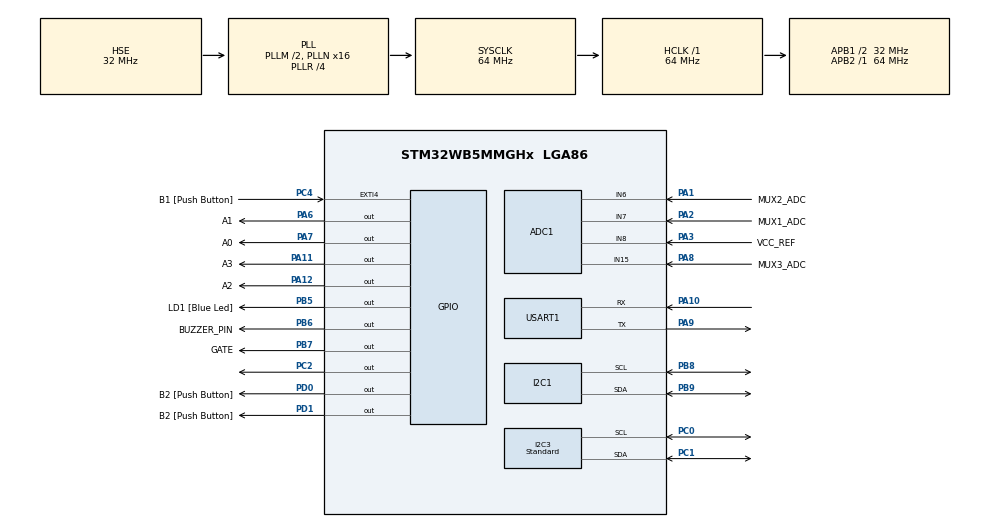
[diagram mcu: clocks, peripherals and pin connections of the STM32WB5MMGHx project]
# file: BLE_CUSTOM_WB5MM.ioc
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ADC1.Channel-0\#ChannelRegularConversion=ADC_CHANNEL_6
ADC1.Channel-1\#ChannelRegularConversion=ADC_CHANNEL_6
ADC1.Channel-2\#ChannelRegularConversion=ADC_CHANNEL_6
ADC1.Channel-3\#ChannelRegularConversion=ADC_CHANNEL_6
ADC1.ClockPrescaler=ADC_CLOCK_ASYNC_DIV2
ADC1.EOCSelection=ADC_EOC_SEQ_CONV
ADC1.NbrOfConversion=4
ADC1.NbrOfConversionFlag=1
ADC1.OffsetNumber-0\#ChannelRegularConversion=ADC_OFFSET_NONE
ADC1.OffsetNumber-1\#ChannelRegularConversion=ADC_OFFSET_NONE
ADC1.OffsetNumber-2\#ChannelRegularConversion=ADC_OFFSET_NONE
ADC1.OffsetNumber-3\#ChannelRegularConversion=ADC_OFFSET_NONE
ADC1.Overrun=ADC_OVR_DATA_OVERWRITTEN
ADC1.OversamplingMode=ENABLE
ADC1.Rank-0\#ChannelRegularConversion=1
ADC1.Rank-1\#ChannelRegularConversion=2
ADC1.Rank-2\#ChannelRegularConversion=3
ADC1.Rank-3\#ChannelRegularConversion=4
ADC1.Ratio=ADC_OVERSAMPLING_RATIO_256
ADC1.RightBitShift=ADC_RIGHTBITSHIFT_4
ADC1.SamplingTime-0\#ChannelRegularConversion=ADC_SAMPLETIME_2CYCLES_5
ADC1.SamplingTime-1\#ChannelRegularConversion=ADC_SAMPLETIME_2CYCLES_5
ADC1.SamplingTime-2\#ChannelRegularConversion=ADC_SAMPLETIME_2CYCLES_5
ADC1.SamplingTime-3\#ChannelRegularConversion=ADC_SAMPLETIME_2CYCLES_5
ADC1.master=1
Dma.ADC1.2.Direction=DMA_PERIPH_TO_MEMORY
Dma.ADC1.2.EventEnable=DISABLE
Dma.ADC1.2.Instance=DMA1_Channel3
Dma.ADC1.2.MemDataAlignment=DMA_MDATAALIGN_WORD
Dma.ADC1.2.MemInc=DMA_MINC_ENABLE
Dma.ADC1.2.Mode=DMA_CIRCULAR
Dma.ADC1.2.PeriphDataAlignment=DMA_PDATAALIGN_WORD
Dma.ADC1.2.PeriphInc=DMA_PINC_DISABLE
Dma.ADC1.2.Polarity=HAL_DMAMUX_REQ_GEN_RISING
Dma.ADC1.2.Priority=DMA_PRIORITY_LOW
Dma.ADC1.2.RequestNumber=1
Dma.ADC1.2.SignalID=NONE
Dma.ADC1.2.SyncEnable=DISABLE
Dma.ADC1.2.SyncPolarity=HAL_DMAMUX_SYNC_NO_EVENT
Dma.ADC1.2.SyncRequestNumber=1
Dma.ADC1.2.SyncSignalID=NONE
Dma.Request0=USART1_RX
Dma.Request1=USART1_TX
Dma.Request2=ADC1
Dma.USART1_RX.0.Direction=DMA_PERIPH_TO_MEMORY
Dma.USART1_RX.0.EventEnable=DISABLE
Dma.USART1_RX.0.Instance=DMA1_Channel1
Dma.USART1_RX.0.MemDataAlignment=DMA_MDATAALIGN_BYTE
Dma.USART1_RX.0.MemInc=DMA_MINC_ENABLE
Dma.USART1_RX.0.Mode=DMA_NORMAL
Dma.USART1_RX.0.PeriphDataAlignment=DMA_PDATAALIGN_BYTE
Dma.USART1_RX.0.PeriphInc=DMA_PINC_DISABLE
Dma.USART1_RX.0.Polarity=HAL_DMAMUX_REQ_GEN_RISING
Dma.USART1_RX.0.Priority=DMA_PRIORITY_LOW
Dma.USART1_RX.0.RequestNumber=1
Dma.USART1_RX.0.SignalID=NONE
Dma.USART1_RX.0.SyncEnable=DISABLE
Dma.USART1_RX.0.SyncPolarity=HAL_DMAMUX_SYNC_NO_EVENT
Dma.USART1_RX.0.SyncRequestNumber=1
Dma.USART1_RX.0.SyncSignalID=NONE
Dma.USART1_TX.1.Direction=DMA_MEMORY_TO_PERIPH
Dma.USART1_TX.1.EventEnable=DISABLE
Dma.USART1_TX.1.Instance=DMA1_Channel2
Dma.USART1_TX.1.MemDataAlignment=DMA_MDATAALIGN_BYTE
Dma.USART1_TX.1.MemInc=DMA_MINC_ENABLE
Dma.USART1_TX.1.Mode=DMA_NORMAL
Dma.USART1_TX.1.PeriphDataAlignment=DMA_PDATAALIGN_BYTE
Dma.USART1_TX.1.PeriphInc=DMA_PINC_DISABLE
Dma.USART1_TX.1.Polarity=HAL_DMAMUX_REQ_GEN_RISING
Dma.USART1_TX.1.Priority=DMA_PRIORITY_LOW
Dma.USART1_TX.1.RequestNumber=1
Dma.USART1_TX.1.SignalID=NONE
Dma.USART1_TX.1.SyncEnable=DISABLE
Dma.USART1_TX.1.SyncPolarity=HAL_DMAMUX_SYNC_NO_EVENT
Dma.USART1_TX.1.SyncRequestNumber=1
Dma.USART1_TX.1.SyncSignalID=NONE
I2C1.I2C_Fall_Time=100
I2C1.I2C_Rise_Time=100
I2C1.Speed=100
I2C1.Timing=0x00B07CB4
I2C3.CustomTiming=Disabled
I2C3.I2C_Fall_Time=100
I2C3.I2C_Rise_Time=100
I2C3.I2C_Speed_Mode=I2C_Standard
I2C3.Speed=100
I2C3.Timing=0x00B07CB4
Mcu.Family=STM32WB
Mcu.Name=STM32WB5MMGHx
Mcu.Package=LGA86
NVIC.ADC1_IRQn=true\:0\:0\:false\:false\:true\:true\:true\:true
NVIC.DMA1_Channel1_IRQn=true\:0\:0\:false\:false\:true\:false\:true\:true
NVIC.DMA1_Channel2_IRQn=true\:0\:0\:false\:false\:true\:false\:true\:true
NVIC.DMA1_Channel3_IRQn=true\:0\:0\:false\:false\:true\:false\:true\:true
NVIC.HSEM_IRQn=true\:0\:0\:false\:false\:true\:false\:true\:true
NVIC.I2C1_ER_IRQn=true\:0\:0\:false\:false\:true\:true\:true\:true
NVIC.I2C1_EV_IRQn=true\:0\:0\:false\:false\:true\:true\:true\:true
NVIC.IPCC_C1_RX_IRQn=true\:0\:0\:false\:false\:true\:true\:true\:true
NVIC.IPCC_C1_TX_IRQn=true\:0\:0\:false\:false\:true\:true\:true\:true
NVIC.PriorityGroup=NVIC_PRIORITYGROUP_4
NVIC.RCC_IRQn=true\:0\:0\:false\:false\:true\:true\:false\:true
NVIC.RTC_WKUP_IRQn=true\:0\:0\:false\:false\:true\:true\:true\:true
PA1.GPIO_Label=MUX2_ADC
PA1.Signal=ADCx_IN6
PA10.Mode=Asynchronous
PA10.Signal=USART1_RX
PA11.GPIO_Label=A3
PA11.Signal=GPIO_Output
PA12.GPIO_Label=A2
PA12.Signal=GPIO_Output
PA2.GPIO_Label=MUX1_ADC
PA2.Signal=ADCx_IN7
PA3.GPIO_Label=VCC_REF
PA3.Signal=ADCx_IN8
PA6.GPIO_Label=A1
PA6.Signal=GPIO_Output
PA7.GPIO_Label=A0
PA7.Signal=GPIO_Output
PA8.GPIO_Label=MUX3_ADC
PA8.Signal=ADCx_IN15
PA9.Mode=Asynchronous
PA9.Signal=USART1_TX
PB5.GPIO_Label=LD1 [Blue Led]
PB5.Signal=GPIO_Output
PB6.GPIO_Label=BUZZER_PIN
PB6.Signal=GPIO_Output
PB7.GPIO_Label=GATE
PB7.Signal=GPIO_Output
PB8.GPIO_Speed=GPIO_SPEED_FREQ_LOW
PB8.Mode=I2C
PB8.Signal=I2C1_SCL
PB9.GPIO_Speed=GPIO_SPEED_FREQ_LOW
PB9.Mode=I2C
PB9.Signal=I2C1_SDA
PC0.Mode=I2C
PC0.Signal=I2C3_SCL
PC1.Mode=I2C
PC1.Signal=I2C3_SDA
PC2.Signal=GPIO_Output
PC4.GPIO_Label=B1 [Push Button]
PC4.GPIO_ModeDefaultEXTI=GPIO_MODE_IT_FALLING
PC4.Signal=GPXTI4
PD0.GPIO_Label=B2 [Push Button]
PD0.Signal=GPIO_Output
PD1.GPIO_Label=B2 [Push Button]
PD1.Signal=GPIO_Output
ProjectManager.HeapSize=0x200
ProjectManager.StackSize=0x400
ProjectManager.TargetToolchain=STM32CubeIDE
RCC.ADCFreq_Value=64000000
RCC.AHB2CLKDivider=RCC_SYSCLK_DIV2
RCC.AHBFreq_Value=64000000
RCC.APB1CLKDivider=RCC_HCLK_DIV2
RCC.APB1Freq_Value=32000000
RCC.APB1TimFreq_Value=64000000
RCC.APB2Freq_Value=64000000
RCC.APB2TimFreq_Value=64000000
RCC.APB3Freq_Value=16000000
RCC.CK48CLockSelection=RCC_USBCLKSOURCE_HSI48
RCC.CortexFreq_Value=64000000
RCC.HCLKFreq_Value=64000000
RCC.HSE_VALUE=32000000
RCC.HSI48_VALUE=48000000
RCC.HSI_VALUE=16000000
RCC.MSIClockRange=RCC_MSIRANGE_10
RCC.PLLM=RCC_PLLM_DIV2
RCC.PLLN=16
RCC.PLLR=RCC_PLLR_DIV4
RCC.PLLSourceVirtual=RCC_PLLSOURCE_HSE
RCC.RTCClockSelection=RCC_RTCCLKSOURCE_LSE
RCC.SYSCLKFreq_VALUE=64000000
RCC.SYSCLKSource=RCC_SYSCLKSOURCE_PLLCLK
RCC.USBFreq_Value=48000000
RCC.VCOOutputFreq_Value=256000000
SH.ADCx_IN15.0=ADC1_IN15,IN15-Single-Ended
SH.ADCx_IN6.0=ADC1_IN6,IN6-Single-Ended
SH.ADCx_IN7.0=ADC1_IN7,IN7-Single-Ended
SH.ADCx_IN8.0=ADC1_IN8,IN8-Single-Ended
STM32_WPAN.AD_TYPE_COMPLETE_LOCAL_NAME=STM32WB5MM
STM32_WPAN.AD_TYPE_COMPLETE_LOCAL_NAME_LENGTH=11
STM32_WPAN.BLE_APPLICATION_TYPE=BLE_SERVER_PROFILE
STM32_WPAN.BLE_DBG_APP_EN=1
STM32_WPAN.CFG_ADV_BD_ADDRESS=0x000000000000
STM32_WPAN.CFG_GAP_DEVICE_NAME=WB5MM
STM32_WPAN.CFG_GAP_DEVICE_NAME_LENGTH=5
STM32_WPAN.CFG_HW_RESET_BY_FW=1
STM32_WPAN.CFG_HW_USART1_ENABLED=1
STM32_WPAN.CFG_LSCLK_LSE=0
STM32_WPAN.CUSTOM_P2P_SERVER=Disabled
STM32_WPAN.CUSTOM_TEMPLATE=Enabled
STM32_WPAN.INCLUDE_AD_TYPE_COMPLETE_LOCAL_NAME=1
STM32_WPAN.INCLUDE_AD_TYPE_TX_POWER_LEVEL=0
STM32_WPAN.NUMBER_OF_SERVICES=1
STM32_WPAN.PAIRING_PARAMETERS=OFF
STM32_WPAN.SERVICE1_CHAR1_GATT_NOTIFY_READ_REQ_AND_WAIT_FOR_APPL_RESP=\ 
STM32_WPAN.SERVICE1_CHAR1_GATT_NOTIFY_WRITE_REQ_AND_WAIT_FOR_APPL_RESP=\ 
STM32_WPAN.SERVICE1_CHAR1_LENGTH_CHARACTERISTIC=CHAR_VALUE_LEN_VARIABLE
STM32_WPAN.SERVICE1_CHAR1_LONG_NAME=Write
STM32_WPAN.SERVICE1_CHAR1_PROP_WRITE=CHAR_PROP_WRITE
STM32_WPAN.SERVICE1_CHAR1_SHORT_NAME=Write
STM32_WPAN.SERVICE1_CHAR1_UUID=00 01
STM32_WPAN.SERVICE1_CHAR1_VALUE_LENGTH=247
STM32_WPAN.SERVICE1_CHAR2_GATT_NOTIFY_ATTRIBUTE_WRITE=\ 
STM32_WPAN.SERVICE1_CHAR2_LENGTH_CHARACTERISTIC=CHAR_VALUE_LEN_VARIABLE
STM32_WPAN.SERVICE1_CHAR2_LONG_NAME=Notify
STM32_WPAN.SERVICE1_CHAR2_PROP_NOTIFY=CHAR_PROP_NOTIFY
STM32_WPAN.SERVICE1_CHAR2_PROP_READ=CHAR_PROP_READ
STM32_WPAN.SERVICE1_CHAR2_SHORT_NAME=Notify
STM32_WPAN.SERVICE1_CHAR2_UUID=00 02
STM32_WPAN.SERVICE1_CHAR2_VALUE_LENGTH=247
STM32_WPAN.SERVICE1_LONG_NAME=MDTEST
STM32_WPAN.SERVICE1_NUMBER_OF_CHARACTERISTICS=2
STM32_WPAN.SERVICE1_SHORT_NAME=MDTEST
TIM16.Period=40000
TIM16.Prescaler=799
USART1.VirtualMode-Asynchronous=VM_ASYNC
VP_HSEM_VS_HSEM.Mode=HSEM_Activate
VP_IPCC_VS_IPCC.Mode=IPCC_Activate
VP_MEMORYMAP_VS_MEMORYMAP.Mode=CurAppReg
VP_RCC_V_OSC32_IN.Mode=LSE-External-Clock-Source
VP_RCC_V_OSC_IN.Mode=HSE-External-Clock-Source
VP_RF_VS_RF.Mode=RF_Activate
VP_RTC_VS_RTC_Activate.Mode=RTC_Enabled
VP_RTC_VS_RTC_WakeUp_intern.Mode=WakeUp
VP_SEQUENCER_VS_SEQUENCER.Mode=SEQUENCER_Enabled
VP_STM32_WPAN_VS_BLE_HOST.Mode=STM32_WPAN_Enabled
VP_TIM16_VS_ClockSourceINT.Mode=Enable_Timer
VP_TINY_LPM_VS_TINY_LPM.Mode=TINY_LPM_Enabled
board=custom

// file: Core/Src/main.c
/* USER CODE BEGIN Header */
/**
  ******************************************************************************
  * @file           : main.c
  * @brief          : Main program body
  ******************************************************************************
  * @attention
  *
  * Copyright (c) 2026 STMicroelectronics.
  * All rights reserved.
  *
  * This software is licensed under terms that can be found in the LICENSE file
  * in the root directory of this software component.
  * If no LICENSE file comes with this software, it is provided AS-IS.
  *
  ******************************************************************************
  */
/* USER CODE END Header */
#include "main.h"
#include "adc.h"
#include "dma.h"
#include "i2c.h"
#include "ipcc.h"
#include "rf.h"
#include "rtc.h"
#include "tim.h"
#include "usart.h"
#include "gpio.h"

/* USER CODE BEGIN Includes */
#include "DisplayHandler.h"
#include "FlashMemory.h"
//#include "usart.h"
#include "xmodem.h"
#include <math.h>
/* USER CODE END Includes */

/* USER CODE BEGIN PTD */
uint8_t ucRxBuffer[12]							= {0};
static _eOperationMode eOpMode					= eUnknownMode;
static _eReadingStatus eDataAqucisionStatus 	= eReadingStatusUnknown;
static bool ucReadingIterator					= false;
static uint8_t ucReadingTrack 					= 0;
static _eBleConnectionStatus eBleCurrentStatus	= eBleStatusUnknown;
_sDeviceInfoData sDeviceInfo					= {0};
bool bPasswordGetter							= false;
bool bOptionGetter								= false;
bool bDeviceIdGetter							= false;
uint8_t ucpDevId[LENGTH_OF_DEV_ID]				= {'\0'};
bool bBackOption								= false;
_ConfigModeStatus eConfigModeCurrentStatus		= eConfigModeUnknown;
uint8_t ucReceivedLen							= 0;
bool bUartReceived								= false;
uint8_t ucEchoBuffer[12]						= {'\0'};

extern char* ucpWearableSize[];
/* USER CODE END PTD */

/* USER CODE BEGIN PD */
static void ClearReadingFlags();
static void UpdateConnectionStatusOnDisplay();
static void ConfigurationModeHandler();
static void ProcessLiveReading();

/* USER CODE END PD */

/* USER CODE BEGIN PV */
long double R_TEMP;
long double curve;
long double final_adc_values[48];
long double mode_values[48][60];
long double adc_readings[48][60];
long double value=0;
float FINAL_TEMP[48];
long double e1=0;
int coeffnum;     //s
long double coeff,err_factor;
int R25[48];
long double resistsnce[48];
__IO int ADC_DATA[4];
__IO int i=0;
char msg[100];
__IO int sample=0;
int z=0;
__IO int max[48];
__IO int mode[48][60];
int  count[48];
int probe_no=0;
int j,k,p,x;
int repeat[48][60];
long double final_values[48][60];
int flag=0;
int total;
long double a[48];
long double b[48];
long double c[48];
long double d[48];
float R[48];
long double avg_adc_ref[48];
long double e1;
long double adc_ref[48][60];
long double mode_adc_ref[48][60];
long double final_adc_ref[48][60];
int n=60;
/* USER CODE END PV */

void SystemClock_Config(void);
void PeriphCommonClock_Config(void);
/* USER CODE BEGIN PFP */
void conv_cmplt_tasks(void);
/* USER CODE END PFP */

/* USER CODE BEGIN 0 */
void HAL_UART_RxCpltCallback(UART_HandleTypeDef *huart)
{
	if (eOpMode != eCOnfigMode)
	{
		if ((NULL != strstr((const char *)ucRxBuffer, (const char *)"CONFIGMODE")) &&
					(eReadingStatusReadingInProgrs != GetReadingStatus()) && (eReadingFromFlash != GetReadingStatus()))
		{
			eOpMode = eCOnfigMode;
			memset(ucRxBuffer, 0x00, 10);
		}
		else
		{
			HAL_UART_Abort_IT(&huart1);

			if(HAL_OK != (HAL_UART_Receive_IT(&huart1, (uint8_t *)ucRxBuffer, sizeof("configmode"))))
			{
				while(1);
			}
		}
	}
	else
	{
		bUartReceived = true;
		ucReceivedLen = huart->RxXferSize;
	}
}

static uint8_t handle_req = 0;

void handle_flash_write()
{
	handle_req = 1;
}
void handle_error_case()
{
	static uint32_t next_hal_time = 0;
	static uint8_t track_time = 0;

	if(handle_req)
	{
		if(next_hal_time < HAL_GetTick())
		{
			next_hal_time = HAL_GetTick() + 1000;
			track_time++;

			if(5 == track_time)
			{
				FlashErasePatientResultData();
				handle_req = 0;
				next_hal_time = 0;
				track_time = 0;
			}
		}

	}
}
/* USER CODE END 0 */

int main(void)
{

  /* USER CODE BEGIN 1 */
	R[0]  = 7500;
	R[1]  = 7500;
	R[2]  = 7500;
	R[3]  = 7500;
	R[4]  = 7500;
	R[5]  = 7500;
	R[6]  = 7500;
	R[7]  = 7500;
	R[8]  = 7500;
	R[9]  = 7500;
	R[10] = 7500;
	R[11] = 7500;
	R[12] = 7500;
	R[13] = 7500;
	R[14] = 7500;
	R[15] = 7500;
	R[16] = 7500;
	R[17] = 7500;
	R[18] = 7500;
	R[19] = 7500;
	R[20] = 7500;
	R[21] = 7500;
	R[22] = 7500;
	R[23] = 7500;
	R[24] = 7500;
	R[25] = 7500;
	R[26] = 7500;
	R[27] = 7500;
	R[28] = 7500;
	R[29] = 7500;
	R[30] = 7500;
	R[31] = 7500;
	R[32] = 7500;
	R[33] = 7500;
	R[34] = 7500;
	R[35] = 7500;
	R[36] = 7500;
	R[37] = 7500;
	R[38] = 7500;
	R[39] = 7500;
	R[40] = 7500;
	R[41] = 7500;
	R[42] = 7500;
	R[43] = 7500;
	R[44] = 7500;
	R[45] = 7500;
	R[46] = 7500;
	R[47] = 7500;
  /* USER CODE END 1 */

  /* MCU Configuration--------------------------------------------------------*/

  /* Reset of all peripherals, Initializes the Flash interface and the Systick. */
  HAL_Init();
  /* Config code for STM32_WPAN (HSE Tuning must be done before system clock configuration) */
  MX_APPE_Config();

  /* Configure the system clock */
  SystemClock_Config();

  /* Configure the peripherals common clocks */
  PeriphCommonClock_Config();

  /* IPCC initialisation */
  MX_IPCC_Init();

  /* Initialize all configured peripherals */
  MX_GPIO_Init();
  MX_DMA_Init();
  MX_RTC_Init();
  MX_I2C1_Init();
  MX_USART1_UART_Init();
  MX_ADC1_Init();
  MX_TIM16_Init();
  MX_I2C3_Init();
  MX_RF_Init();
  /* USER CODE BEGIN 2 */
  getSavedConfigurationValues();
  FlashReadDeviceId(&sDeviceInfo);

  if (HAL_ADCEx_Calibration_Start(&hadc1, ADC_SINGLE_ENDED) != HAL_OK)
  {
	  /* Calibration Error */
	  Error_Handler();
  }
  HAL_GPIO_WritePin(A0_GPIO_Port, A0_Pin, GPIO_PIN_RESET);
  HAL_GPIO_WritePin(A1_GPIO_Port, A1_Pin, GPIO_PIN_RESET);
  HAL_GPIO_WritePin(A2_GPIO_Port, A2_Pin, GPIO_PIN_RESET);
  HAL_GPIO_WritePin(A3_GPIO_Port, A3_Pin, GPIO_PIN_RESET);
  HAL_GPIO_WritePin(GATE_GPIO_Port, GATE_Pin, GPIO_PIN_SET);

  for (coeffnum = 0; coeffnum < 48; coeffnum++) // s
  {
	  sprintf(msg,"\n\n\r   a[%d]=%.18Lf",coeffnum,a[coeffnum]);
	  HAL_UART_Transmit(&huart1, (uint8_t *)msg, strlen(msg), 100);
	  sprintf(msg,"\n\r   b[%d]=%.18Lf",coeffnum,b[coeffnum]);
	  HAL_UART_Transmit(&huart1, (uint8_t *)msg, strlen(msg), 100);
	  sprintf(msg,"\n\r   c[%d]=%.18Lf",coeffnum,c[coeffnum]);
	  HAL_UART_Transmit(&huart1, (uint8_t *)msg, strlen(msg), 100);
	  sprintf(msg,"\n\r   d[%d]=%.18Lf",coeffnum,d[coeffnum]);
	  HAL_UART_Transmit(&huart1, (uint8_t *)msg, strlen(msg), 100);
  }
  /* USER CODE END 2 */

  /* Init code for STM32_WPAN */
  MX_APPE_Init();

  /* Infinite loop */
  /* USER CODE BEGIN WHILE */
  FlashReadDeviceId(&sDeviceInfo);

  C_METwelcomeLogo();
  DeviceInfoLogo();
  SetDisplayStatus(eDisplayNotConnected);
  RestoreConfigDataFromFlash();
  DisplayDAQ_Id();

  while (1)
  {
	  if (eOpMode == eCOnfigMode)
	  	{
	  		ConfigurationModeHandler();
	  	}
	  		/* Here the live data reading can be tracked and controlled */
	  	else if ( eReadingStatusReadingInProgrs == GetReadingStatus() && (ucReadingIterator))
	  	{
	  		ProcessLiveReading();
	  	}
	  		/* Flash data reading */
	  	else if ( eReadingFromFlash == GetReadingState())
	  	{
	  		ProcessReadingFromFlash();
	  		HAL_Delay(250);
	  	}
    UpdateConnectionStatusOnDisplay();
	BlePacketHandler();
    /* USER CODE END WHILE */
    MX_APPE_Process();

    /* USER CODE BEGIN 3 */

    //HAL_Delay(1);
  }
  /* USER CODE END 3 */
}

void SystemClock_Config(void)
{
  RCC_OscInitTypeDef RCC_OscInitStruct = {0};
  RCC_ClkInitTypeDef RCC_ClkInitStruct = {0};

  /** Configure LSE Drive Capability
  */
  HAL_PWR_EnableBkUpAccess();
  __HAL_RCC_LSEDRIVE_CONFIG(RCC_LSEDRIVE_MEDIUMHIGH);

  /** Configure the main internal regulator output voltage
  */
  __HAL_PWR_VOLTAGESCALING_CONFIG(PWR_REGULATOR_VOLTAGE_SCALE1);

  /** Initializes the RCC Oscillators according to the specified parameters
  * in the RCC_OscInitTypeDef structure.
  */
  RCC_OscInitStruct.OscillatorType = RCC_OSCILLATORTYPE_HSI|RCC_OSCILLATORTYPE_HSE
                              |RCC_OSCILLATORTYPE_LSE;
  RCC_OscInitStruct.HSEState = RCC_HSE_ON;
  RCC_OscInitStruct.LSEState = RCC_LSE_ON;
  RCC_OscInitStruct.HSIState = RCC_HSI_ON;
  RCC_OscInitStruct.HSICalibrationValue = RCC_HSICALIBRATION_DEFAULT;
  RCC_OscInitStruct.PLL.PLLState = RCC_PLL_ON;
  RCC_OscInitStruct.PLL.PLLSource = RCC_PLLSOURCE_HSE;
  RCC_OscInitStruct.PLL.PLLM = RCC_PLLM_DIV2;
  RCC_OscInitStruct.PLL.PLLN = 16;
  RCC_OscInitStruct.PLL.PLLP = RCC_PLLP_DIV2;
  RCC_OscInitStruct.PLL.PLLR = RCC_PLLR_DIV4;
  RCC_OscInitStruct.PLL.PLLQ = RCC_PLLQ_DIV2;
  if (HAL_RCC_OscConfig(&RCC_OscInitStruct) != HAL_OK)
  {
    Error_Handler();
  }

  /** Configure the SYSCLKSource, HCLK, PCLK1 and PCLK2 clocks dividers
  */
  RCC_ClkInitStruct.ClockType = RCC_CLOCKTYPE_HCLK4|RCC_CLOCKTYPE_HCLK2
                              |RCC_CLOCKTYPE_HCLK|RCC_CLOCKTYPE_SYSCLK
                              |RCC_CLOCKTYPE_PCLK1|RCC_CLOCKTYPE_PCLK2;
  RCC_ClkInitStruct.SYSCLKSource = RCC_SYSCLKSOURCE_PLLCLK;
  RCC_ClkInitStruct.AHBCLKDivider = RCC_SYSCLK_DIV1;
  RCC_ClkInitStruct.APB1CLKDivider = RCC_HCLK_DIV2;
  RCC_ClkInitStruct.APB2CLKDivider = RCC_HCLK_DIV1;
  RCC_ClkInitStruct.AHBCLK2Divider = RCC_SYSCLK_DIV2;
  RCC_ClkInitStruct.AHBCLK4Divider = RCC_SYSCLK_DIV1;

  if (HAL_RCC_ClockConfig(&RCC_ClkInitStruct, FLASH_LATENCY_3) != HAL_OK)
  {
    Error_Handler();
  }
}

void PeriphCommonClock_Config(void)
{
  RCC_PeriphCLKInitTypeDef PeriphClkInitStruct = {0};

  /** Initializes the peripherals clock
  */
  PeriphClkInitStruct.PeriphClockSelection = RCC_PERIPHCLK_SMPS|RCC_PERIPHCLK_RFWAKEUP;
  PeriphClkInitStruct.RFWakeUpClockSelection = RCC_RFWKPCLKSOURCE_HSE_DIV1024;
  PeriphClkInitStruct.SmpsClockSelection = RCC_SMPSCLKSOURCE_HSI;
  PeriphClkInitStruct.SmpsDivSelection = RCC_SMPSCLKDIV_RANGE1;

  if (HAL_RCCEx_PeriphCLKConfig(&PeriphClkInitStruct) != HAL_OK)
  {
    Error_Handler();
  }
}

/* USER CODE BEGIN 4 */
void HAL_ADC_ConvCpltCallback(ADC_HandleTypeDef *hadc)
{
	if(sample==-1)
	{
		j++;
		HAL_Delay(100);
		HAL_ADC_Start_IT(&hadc1);

		if (j==16)
		{
			sample++;
			sprintf(msg,"\n\rIteration No %d",sample);
			HAL_UART_Transmit(&huart1,(uint8_t*)msg,strlen(msg),100);
			j = 0;
		}
	}
	else
	{
		HAL_GPIO_WritePin(GATE_GPIO_Port, GATE_Pin, GPIO_PIN_RESET);
		adc_readings[j][sample] = (long double)ADC_DATA[2];		 // readings from 0 to 15th probes(mux1)
		adc_readings[j + 16][sample] = (long double)ADC_DATA[0]; // readings from 16 to 32th probes(mux2)
		adc_readings[j + 32][sample] = (long double)ADC_DATA[1]; // readings from 16 to 32th probes(mux2)
		adc_ref[j][sample] = (long double)(ADC_DATA[3]);
		adc_ref[j + 16][sample] = (long double)(ADC_DATA[3]);
		adc_ref[j + 32][sample] = (long double)(ADC_DATA[3]);
		//if (j==0)
		//	{
		sprintf(msg,"Readings from %dth (mux1)=%d \n",j,ADC_DATA[2]);
		HAL_UART_Transmit(&huart1,(uint8_t*)msg,strlen(msg),100);
		sprintf(msg,"Readings from %dth (mux2)=%d \n",j+16,ADC_DATA[0]);//readings from 17th (mux2)
		HAL_UART_Transmit(&huart1,(uint8_t*)msg,strlen(msg),100);
		sprintf(msg,"Readings from %dth (mux3)=%d \n",j+32,ADC_DATA[1]);
		HAL_UART_Transmit(&huart1,(uint8_t*)msg,strlen(msg),100);
	//}

		/*	if (j==1)
					{
					sprintf(msg,"Readings from %dth (mux1)=%d \n",j,ADC_DATA[1]);
					HAL_UART_Transmit(&huart1,(uint8_t*)msg,strlen(msg),100);
					sprintf(msg,"Readings from %dth (mux2)=%d \n",j+16,ADC_DATA[0]);//readings from 17th (mux2)
					HAL_UART_Transmit(&huart1,(uint8_t*)msg,strlen(msg),100);
					sprintf(msg,"Readings from %dth (mux1)=%d \n",j+32,ADC_DATA[2]);
					HAL_UART_Transmit(&huart1,(uint8_t*)msg,strlen(msg),100);
				}  */
		/* ___________________________________________________________________________________________________ */

		j++;

		if (j == 16)
		{
			sample++;
			sprintf(msg,"\r\nIteration No. %d ",sample);
			HAL_UART_Transmit(&huart1,(uint8_t*)msg,strlen(msg),100);
			j=0;
		}
		/* When 60 samples of each probes are taken */
		if(sample == n)
		{
			sample =-1;
			for(probe_no = 0;probe_no < 48;probe_no++)
			{
				/* Finding the maximum no of occurrence of each probe's samples */
				k = 0;
				max[probe_no]=0;
				for (i = 0; i < (n-1); i++)
				{
					mode[probe_no][i] = 1;

					for (z= (i + 1); z < n; z++)
					{
						if (adc_readings[probe_no][i] == adc_readings[probe_no][z])
						{
							mode[probe_no][i]++;
						}
					}
					if ((mode[probe_no][i]) > max[probe_no])
					{
						max[probe_no]= mode[probe_no][i];
					}
				}
			}
			for(probe_no = 0;probe_no < 48;probe_no++)
			{
				count[probe_no] = 0;
				k = 0;
				x = 0;
				for(i = 0;i < n; i++)
				{
					/* choosing the max occurred adc value as well as its nearby values */
					if(((mode[probe_no][i]) + 4) > (max[probe_no]))
					{
						mode_values[probe_no][k] = adc_readings[probe_no][i];
						mode_adc_ref[probe_no][k] = adc_ref[probe_no][i];

						if(k == 0)
						{
							final_values[probe_no][x] = mode_values[probe_no][k];
							final_adc_ref[probe_no][x] = mode_adc_ref[probe_no][k];
							repeat[probe_no][x] = mode[probe_no][i];
							x++;
							count[probe_no]++;

						}
						else
						{
							for ( z = 0;z < k; z++)
							{
								if (mode_values[probe_no][k] == mode_values[probe_no][z])
								{
									flag = 1;
								}
							}

							if (flag == 0)
							{
								final_values[probe_no][x] = mode_values[probe_no][k];
								final_adc_ref[probe_no][x] = mode_adc_ref[probe_no][k];
								repeat[probe_no][x] = mode[probe_no][i];
								x++;
								count[probe_no]++;
							}
						}

						flag = 0;
						k++;
					}
				}
			}
			for(probe_no = 0; probe_no < 48; probe_no++)
			{
				total = 0;
				avg_adc_ref[probe_no] = 0;
				final_adc_values[probe_no] = 0;

				for(p = 0;p < count[probe_no]; p++)
				{
					final_adc_values[probe_no] =  ((final_values[probe_no][p]) * repeat[probe_no][p]) + final_adc_values[probe_no];
					avg_adc_ref[probe_no]=((final_adc_ref[probe_no][p]) * repeat[probe_no][p]) + avg_adc_ref[probe_no];
					total = total + repeat[probe_no][p];
				}

				value = 0;
				avg_adc_ref[probe_no] = avg_adc_ref[probe_no] / total;
				final_adc_values[probe_no] = final_adc_values[probe_no] / total;
				//finding the curve for error factor
				err_factor = ((.1 * exp(-((final_adc_values[probe_no] - 32768) * (final_adc_values[probe_no] - 32768)) / (7000000))) + (0.00000000000001 * (final_adc_values[probe_no] * final_adc_values[probe_no] * final_adc_values[probe_no]))) / 1.358;

				R_TEMP = ((R[probe_no]) * ((avg_adc_ref[0] / (final_adc_values[probe_no] - (21*err_factor))) - 1));
				//R_TEMP=((R[probe_no])*((avg_adc_ref[0]/(final_adc_values[probe_no]))-1));
				e1 = logl(R_TEMP);
				value = a[probe_no] + (b[probe_no] * e1) + (d[probe_no] * e1 * e1 * e1) + (c[probe_no] * e1 * e1);
				value = 1.00 / value;
				value = (value - 273.15);
				//sprintf(msg,"\n\rtemprature from probe %d = %Lf \n\r",probe_no,value);
				HAL_UART_Transmit(&huart1,(uint8_t*)msg,strlen(msg),100);
				FINAL_TEMP[probe_no] = value;

				//FINAL_TEMP[probe_no] = ucReadingTrack;
				//sprintf(msg,"final_adc=%Lf \n\r",final_adc_values[probe_no]);
				HAL_UART_Transmit(&huart1,(uint8_t*)msg,strlen(msg),100);
				sprintf(msg,"count=%d \n\r",total);
				HAL_UART_Transmit(&huart1,(uint8_t*)msg,strlen(msg),100);
				sprintf(msg,"MAX=%d \n\r",max[probe_no]);
				HAL_UART_Transmit(&huart1,(uint8_t*)msg,strlen(msg),100);
				count[probe_no] = 0;
			}

			ucReadingIterator = true;
			ucReadingTrack++;

			sprintf(msg,"\n\n\r Data set No %d measurement completed \n",ucReadingTrack);
			HAL_UART_Transmit(&huart1,(uint8_t*)msg,strlen(msg),100);

			HAL_GPIO_WritePin(	GATE_GPIO_Port, GATE_Pin, GPIO_PIN_SET);
			HAL_GPIO_WritePin(A0_GPIO_Port, A0_Pin, GPIO_PIN_RESET);
			HAL_GPIO_WritePin(A1_GPIO_Port, A1_Pin, GPIO_PIN_RESET);
			HAL_GPIO_WritePin(A2_GPIO_Port, A2_Pin, GPIO_PIN_RESET);
			HAL_GPIO_WritePin(A3_GPIO_Port, A3_Pin, GPIO_PIN_RESET);
			HAL_GPIO_WritePin(	GATE_GPIO_Port, GATE_Pin, GPIO_PIN_SET);
			}
			else
			{
				switch (j)
				{
				case 7:
					HAL_GPIO_WritePin(A0_GPIO_Port, A0_Pin, GPIO_PIN_RESET);
					HAL_GPIO_WritePin(A1_GPIO_Port, A1_Pin, GPIO_PIN_RESET);
					HAL_GPIO_WritePin(A2_GPIO_Port, A2_Pin, GPIO_PIN_RESET);
					HAL_GPIO_WritePin(A3_GPIO_Port, A3_Pin, GPIO_PIN_RESET);

					break;
				case 6:
					HAL_GPIO_WritePin(A0_GPIO_Port, A0_Pin, GPIO_PIN_SET);
					HAL_GPIO_WritePin(A1_GPIO_Port, A1_Pin, GPIO_PIN_RESET);
					HAL_GPIO_WritePin(A2_GPIO_Port, A2_Pin, GPIO_PIN_RESET);
					HAL_GPIO_WritePin(A3_GPIO_Port, A3_Pin, GPIO_PIN_RESET);

					break;
				case 5:
					HAL_GPIO_WritePin(A0_GPIO_Port, A0_Pin, GPIO_PIN_RESET);
					HAL_GPIO_WritePin(A1_GPIO_Port, A1_Pin, GPIO_PIN_SET);
					HAL_GPIO_WritePin(A2_GPIO_Port, A2_Pin, GPIO_PIN_RESET);
					HAL_GPIO_WritePin(A3_GPIO_Port, A3_Pin, GPIO_PIN_RESET);

					break;
				case 4:
					HAL_GPIO_WritePin(A0_GPIO_Port, A0_Pin, GPIO_PIN_SET);
					HAL_GPIO_WritePin(A1_GPIO_Port, A1_Pin, GPIO_PIN_SET);
					HAL_GPIO_WritePin(A2_GPIO_Port, A2_Pin, GPIO_PIN_RESET);
					HAL_GPIO_WritePin(A3_GPIO_Port, A3_Pin, GPIO_PIN_RESET);

					break;
				case 3:
					HAL_GPIO_WritePin(A0_GPIO_Port, A0_Pin, GPIO_PIN_RESET);
					HAL_GPIO_WritePin(A1_GPIO_Port, A1_Pin, GPIO_PIN_RESET);
					HAL_GPIO_WritePin(A2_GPIO_Port, A2_Pin, GPIO_PIN_SET);
					HAL_GPIO_WritePin(A3_GPIO_Port, A3_Pin, GPIO_PIN_RESET);

					break;
				case 2:
					HAL_GPIO_WritePin(A0_GPIO_Port, A0_Pin, GPIO_PIN_SET);
					HAL_GPIO_WritePin(A1_GPIO_Port, A1_Pin, GPIO_PIN_RESET);
					HAL_GPIO_WritePin(A2_GPIO_Port, A2_Pin, GPIO_PIN_SET);
					HAL_GPIO_WritePin(A3_GPIO_Port, A3_Pin, GPIO_PIN_RESET);

					break;
				case 1:
					HAL_GPIO_WritePin(A0_GPIO_Port, A0_Pin, GPIO_PIN_RESET);
					HAL_GPIO_WritePin(A1_GPIO_Port, A1_Pin, GPIO_PIN_SET);
					HAL_GPIO_WritePin(A2_GPIO_Port, A2_Pin, GPIO_PIN_SET);
					HAL_GPIO_WritePin(A3_GPIO_Port, A3_Pin, GPIO_PIN_RESET);

					break;
				case 0:
					HAL_GPIO_WritePin(A0_GPIO_Port, A0_Pin, GPIO_PIN_SET);
					HAL_GPIO_WritePin(A1_GPIO_Port, A1_Pin, GPIO_PIN_SET);
					HAL_GPIO_WritePin(A2_GPIO_Port, A2_Pin, GPIO_PIN_SET);
					HAL_GPIO_WritePin(A3_GPIO_Port, A3_Pin, GPIO_PIN_RESET);

					break;
				case 15:
					HAL_GPIO_WritePin(A0_GPIO_Port, A0_Pin, GPIO_PIN_RESET);
					HAL_GPIO_WritePin(A1_GPIO_Port, A1_Pin, GPIO_PIN_RESET);
					HAL_GPIO_WritePin(A2_GPIO_Port, A2_Pin, GPIO_PIN_RESET);
					HAL_GPIO_WritePin(A3_GPIO_Port, A3_Pin, GPIO_PIN_SET);

					break;
				case 14:
					HAL_GPIO_WritePin(A0_GPIO_Port, A0_Pin, GPIO_PIN_SET);
					HAL_GPIO_WritePin(A1_GPIO_Port, A1_Pin, GPIO_PIN_RESET);
					HAL_GPIO_WritePin(A2_GPIO_Port, A2_Pin, GPIO_PIN_RESET);
					HAL_GPIO_WritePin(A3_GPIO_Port, A3_Pin, GPIO_PIN_SET);

					break;
				case 13:
					HAL_GPIO_WritePin(A0_GPIO_Port, A0_Pin, GPIO_PIN_RESET);
					HAL_GPIO_WritePin(A1_GPIO_Port, A1_Pin, GPIO_PIN_SET);
					HAL_GPIO_WritePin(A2_GPIO_Port, A2_Pin, GPIO_PIN_RESET);
					HAL_GPIO_WritePin(A3_GPIO_Port, A3_Pin, GPIO_PIN_SET);

					break;
				case 12:
					HAL_GPIO_WritePin(A0_GPIO_Port, A0_Pin, GPIO_PIN_SET);
					HAL_GPIO_WritePin(A1_GPIO_Port, A1_Pin, GPIO_PIN_SET);
					HAL_GPIO_WritePin(A2_GPIO_Port, A2_Pin, GPIO_PIN_RESET);
					HAL_GPIO_WritePin(A3_GPIO_Port, A3_Pin, GPIO_PIN_SET);

					break;
				case 11:
					HAL_GPIO_WritePin(A0_GPIO_Port, A0_Pin, GPIO_PIN_RESET);
					HAL_GPIO_WritePin(A1_GPIO_Port, A1_Pin, GPIO_PIN_RESET);
					HAL_GPIO_WritePin(A2_GPIO_Port, A2_Pin, GPIO_PIN_SET);
					HAL_GPIO_WritePin(A3_GPIO_Port, A3_Pin, GPIO_PIN_SET);

					break;
				case 10:
					HAL_GPIO_WritePin(A0_GPIO_Port, A0_Pin, GPIO_PIN_SET);
					HAL_GPIO_WritePin(A1_GPIO_Port, A1_Pin, GPIO_PIN_RESET);
					HAL_GPIO_WritePin(A2_GPIO_Port, A2_Pin, GPIO_PIN_SET);
					HAL_GPIO_WritePin(A3_GPIO_Port, A3_Pin, GPIO_PIN_SET);

					break;
				case 9:
					HAL_GPIO_WritePin(A0_GPIO_Port, A0_Pin, GPIO_PIN_RESET);
					HAL_GPIO_WritePin(A1_GPIO_Port, A1_Pin, GPIO_PIN_SET);
					HAL_GPIO_WritePin(A2_GPIO_Port, A2_Pin, GPIO_PIN_SET);
					HAL_GPIO_WritePin(A3_GPIO_Port, A3_Pin, GPIO_PIN_SET);

					break;
				case 8:
					HAL_GPIO_WritePin(A0_GPIO_Port, A0_Pin, GPIO_PIN_SET);
					HAL_GPIO_WritePin(A1_GPIO_Port, A1_Pin, GPIO_PIN_SET);
					HAL_GPIO_WritePin(A2_GPIO_Port, A2_Pin, GPIO_PIN_SET);
					HAL_GPIO_WritePin(A3_GPIO_Port, A3_Pin, GPIO_PIN_SET);

					break;
				}

			HAL_Delay(100); // need to chamge the HAL delay in ISR
			HAL_GPIO_WritePin(GATE_GPIO_Port, GATE_Pin, GPIO_PIN_SET);
			HAL_ADC_Start_IT(&hadc1);
		}
	}
}

/*-----------------------------------------------------------------------------
//Purpose   : Handle live reading process
//Inputs    : None
//Outputs   : None
//Return    : None
//Notes     : None
-----------------------------------------------------------------------------*/
static void ProcessLiveReading()
{
	if (MAX_READING_ITERATION <= ucReadingTrack)
	{
		FlashSavePatientResultData(FINAL_TEMP,1);
		IncreasePercentage(false);
		BuzzerPlay(3);
		ClearReadingFlags();
	}
	else
	{
		IncreasePercentage(false);
		ucReadingIterator = false;
		/*
		 * live reading each iteration
		 */
		// swap function call order
		StartBuildingScreeningPayload();
		FlashSavePatientResultData(FINAL_TEMP,1);
		//UpdateBatteryVoltageOnDisplay();
	}
}
/*-----------------------------------------------------------------------------
//Purpose   : Handle data read request
//Inputs    : None
//Outputs   : None
//Return    : None
//Notes     : None
-----------------------------------------------------------------------------*/
void ProcessDataAquesitionRequest()
{
	static uint8_t run = 0;/* Backward compactability */

	SetDisplayStatus(eDisplayReadingStarted);

	if(run == 0)
	{
		HAL_GPIO_WritePin(	GATE_GPIO_Port, GATE_Pin, GPIO_PIN_SET);

		if ( HAL_ADC_Start_DMA(&hadc1, (uint32_t *)ADC_DATA, 4) != HAL_OK)
		{
			Error_Handler();
		}

		run=1;
	}
	else
	{
		HAL_GPIO_WritePin(	GATE_GPIO_Port, GATE_Pin, GPIO_PIN_SET);
		HAL_ADC_Start_IT(&hadc1);
		SetReadingStatus(eReadingStatusReadingInProgrs);
		SetRedaingState(eLiveReading);
	}
}

/*-----------------------------------------------------------------------------
//Purpose   : Get connected status
//Inputs    : None
//Outputs   : None
//Return    : None
//Notes     : None
-----------------------------------------------------------------------------*/
_eBleConnectionStatus GetBleConnectionStatus()
{
	return eBleCurrentStatus;
}
/*-----------------------------------------------------------------------------
//Purpose   : Set reading status
//Inputs    : eRequest - Set reading status
//Outputs   : None
//Return    : None
//Notes     : None
-----------------------------------------------------------------------------*/
void SetReadingStatus(_eReadingStatus eRequest)
{
	eDataAqucisionStatus = eRequest;
}
/*-----------------------------------------------------------------------------
//Purpose   : Set reading status
//Inputs    : None
//Outputs   : None
//Return    : Get reading status
//Notes     : None
-----------------------------------------------------------------------------*/
_eReadingStatus GetReadingStatus()
{
	return eDataAqucisionStatus;
}
/*-----------------------------------------------------------------------------
//Purpose   : Clear Reading flags
//Inputs    : None
//Outputs   : None
//Return    : None
//Notes     : None
-----------------------------------------------------------------------------*/
static void ClearReadingFlags()
{
	UpadteDaqCompletedStatus();

	ucReadingTrack = 0;
	SetReadingStatus(eReadingStatusUnknown);
	HAL_ADC_Stop_IT(&hadc1);
}

/*-----------------------------------------------------------------------------
//Purpose   : Handle config mode
//Inputs    : None
//Outputs   : None
//Return    : None
//Notes     : None
-----------------------------------------------------------------------------*/
static void ConfigurationModeHandler()
{
	bool bPrintDone				= false;
	bool bModeSwitch			= false;
	bool bDeviceIdStored		= false;
	bool bWdSizeGet				= false;
	bool bWearbleIdGot			= false;

	SetDisplayStatus(eDisplayConfigMode);

	uart_transmit_str((uint8_t*)"\r\n\n   Please enter the authentication key  :- \r\n");
	HAL_UART_Receive_IT(&huart1, (uint8_t *)ucRxBuffer, sizeof("12345")-1);
	eConfigModeCurrentStatus = eConfigModePasswordConfirm;

	/*
	 * ulTimeOutFinder = GetHal
	 */

	while(1)
	{
		/*
			ulTimeOutFinder = 8000+ HAL_GetTick();
		*/
		while(!bUartReceived)
		{
			if (bModeSwitch)
			{
				bModeSwitch = false;
				break;
			}

			/* This portion will be used for implimenting time out */
			/*
			else if (ulTimeOutFinder < HAL_GetTick())
			{
				break;
			}
			Need proper implimentation
			*/
		}

		switch (eConfigModeCurrentStatus)
		{
			case eConfigModePasswordConfirm:
				if (NULL != strstr((const char *)ucRxBuffer, (const char *)"12345"))
				{
					eConfigModeCurrentStatus = eConfigModeMainMenu;
					bModeSwitch = true;
				}
				else
				{
					uart_transmit_str((uint8_t*)"\r\n\n   Wrong Password, Please enter the correct password:-\r\n");
					HAL_UART_Receive_IT(&huart1, (uint8_t *)ucRxBuffer, sizeof("12345"));
				}
			break;
			case eConfigModeMainMenu:
				if (!bPrintDone)
				{
					uart_transmit_str((uint8_t*)"\r\n\n   Please select by pressing the corresponding option number:- \r\n");
					uart_transmit_str((uint8_t*)"     1. Enter Device Settings\r\n");
					uart_transmit_str((uint8_t*)"     2. Enter Wearable Settings\r\n");
					uart_transmit_str((uint8_t*)"     3. Get Device Info\r\n");
					uart_transmit_str((uint8_t*)"     4. Get Wearable Info\r\n");
					HAL_UART_Receive_IT(&huart1, (uint8_t *)ucRxBuffer, 1);
					bPrintDone = true;
				}
				else
				{
					uint8_t ucUserOption = ucRxBuffer[0] - '0';

					if ((ucUserOption > 0) && (ucUserOption < 5))
					{
						eConfigModeCurrentStatus = ucUserOption + 2;
						bPrintDone = false;
						bModeSwitch = true;
					}
					else
					{
						uart_transmit_str((uint8_t*)"\r\n\n   Wrong option,Please retry\r\n");
						HAL_UART_Receive_IT(&huart1, (uint8_t *)ucRxBuffer, 1);
					}
				}
			break;
			case eConfigModeDeviceIdSet:
				if (!bPrintDone)
				{
					uart_transmit_str((uint8_t*)"\r\n\n   Enter a valid Device ID:-\n\r");
					HAL_UART_Receive_IT(&huart1, (uint8_t *)ucRxBuffer, LENGTH_OF_DEV_ID);
					bPrintDone = true;
				}
				else
				{
					if ((LENGTH_OF_DEV_ID == ucReceivedLen) && (ucRxBuffer[0] == 'M') && (ucRxBuffer[1] == 'D'))
					{
						uart_transmit_str((uint8_t*)"\r\n\n   The Device ID is set as ");
						uart_transmit_str((uint8_t*)ucRxBuffer);
						memcpy(sDeviceInfo.ucDeviceId, ucRxBuffer, LENGTH_OF_DEV_ID);
						FlashSaveDeviceInfo((uint8_t*)&sDeviceInfo);
						DisplayDAQ_Id();
						bDeviceIdStored = true;
						uart_transmit_str((uint8_t*)"\r\n\n   Please restart the device ! \r\n");
						UpdateRestartDevice();

						while(1);
						HAL_UART_Receive_IT(&huart1, (uint8_t *)ucRxBuffer, 1);
					}
					else if (true == bDeviceIdStored)
					{
						uint8_t ucUserOption = ucRxBuffer[0] - '0';

						if (1 == ucUserOption)
						{
							eConfigModeCurrentStatus = eConfigModeMainMenu;
							bPrintDone 		= false;
							bModeSwitch 	= true;
							bDeviceIdStored = false;
						}
					}
					else
					{
						uart_transmit_str((uint8_t*)"\r\n\n   Entered Device ID is invalid \r\n   (Start with 'MD' and should exactly contain 10 characters)");
						bModeSwitch = true;
						bPrintDone = false;
					}
				}
			break;
			case eConfigModeWearableIdSet:
				if (!bPrintDone)
				{
					if(!bWearbleIdGot)
					{
						uart_transmit_str((uint8_t*)"\r\n\n   Enter a valid Wearable ID :- \r\n");
						HAL_UART_Receive_IT(&huart1, (uint8_t *)ucRxBuffer, sizeof(sDeviceInfo.ucDeviceId));
						bPrintDone = true;
					}
					else
					{
						uart_transmit_str((uint8_t*)"\r\n   Please select from the options given \r\n");
						HAL_UART_Receive_IT(&huart1, (uint8_t *)ucRxBuffer, 1);
						bPrintDone = true;
					}
				}
				else
				{
					if ((ucRxBuffer[0] == 'W') && (ucRxBuffer[1] == 'D') && (LENGTH_OF_DEV_ID == ucReceivedLen))
					{
						uart_transmit_str((uint8_t*)"\r\n\n   Entered Wearable ID is ");
						uart_transmit_str((uint8_t*)ucRxBuffer);
						memcpy(sDeviceInfo.ucWearableId, ucRxBuffer, LENGTH_OF_DEV_ID);
						bWearbleIdGot = true;
						uart_transmit_str((uint8_t*)"\r\n\n   Please press the option number to select the WD size");
						uart_transmit_str((uint8_t*)"\r\n     1. Small\n\r     2. Medium\n\r     3. Large\n\r     4. XLarge\n\r     5. XXLarge\n\r     6. XXXLarge\n\r     7. FULL\n\r");
						HAL_UART_Receive_IT(&huart1, (uint8_t *)ucRxBuffer, 1);
					}
					else if (!bWearbleIdGot)
					{
						uart_transmit_str((uint8_t*)"\r\n\n   Entered Wearable ID is invalid \r\n   (Start with 'WD' and should exactly contain 10 characters)");
						bPrintDone  = false;
						bModeSwitch = true;
					}
					else
					{
						uint8_t ucWdSize = ucRxBuffer[0] - '0';

						if((ucWdSize > 0) && (ucWdSize < 8))
						{
							sDeviceInfo.eWearableSize = ucWdSize;
							bWdSizeGet = true;
							uart_transmit_str((uint8_t*)"\r\n\n   Please upload the text file through XMODEM");
							uart_transmit_str((uint8_t*)"\r\n   File -> Transfer -> XMODEM -> Send");
							uart_transmit_str((uint8_t*)"\r\n   Attention: Make sure you are using the standard template \r\n\n");
							xmodem_receive();
						}
						else
						{
							uart_transmit_str((uint8_t*)"\r\n\n   Wrong option,Please retry\r\n");
							bPrintDone  = false;
							bModeSwitch = true;
						}
					}
				}
			break;
			case eConfigModeGetDeviceId:
				if (!bPrintDone)
				{
					uint8_t ucDeviceId[DEVICEID_LEN] = {0};
					memcpy(ucDeviceId, sDeviceInfo.ucDeviceId, DEVICEID_LEN);
					uart_transmit_str((uint8_t*)"\r\n\n   Device ID : ");
					uart_transmit_str((uint8_t*)ucDeviceId);
					uart_transmit_str((uint8_t*)"\r\n   HW Ver    : ");
					uart_transmit_str((uint8_t*)HW_VERSION);
					uart_transmit_str((uint8_t*)"\r\n   SW Ver    : ");
					uart_transmit_str((uint8_t*)SW_VERSION);
					uart_transmit_str((uint8_t*)"\r\n\n   Press '0' to go back \r\n");
					bPrintDone = true;
					HAL_UART_Receive_IT(&huart1, (uint8_t *)ucRxBuffer, 1);
				}
				else
				{
					uint8_t ucUserOption = ucRxBuffer[0] - '0';

					if (0 == ucUserOption)
					{
						eConfigModeCurrentStatus = eConfigModeMainMenu;
						bPrintDone = false;
						bModeSwitch = true;
					}
					else
					{
						uart_transmit_str((uint8_t*)"\r\n\n   Press '0' to go back\r\n");
						HAL_UART_Receive_IT(&huart1, (uint8_t *)ucRxBuffer, 1);
					}
				}
			break;
			case eConfigModeGetWearableId:
				if (!bPrintDone)
				{
					uart_transmit_str((uint8_t*)"\r\n\n   Wearable ID : ");
					uart_transmit_str((uint8_t*)sDeviceInfo.ucWearableId);
					uart_transmit_str((uint8_t*)"\r\n\n   WD ID Size  : ");
					uart_transmit_str((uint8_t*)ucpWearableSize[sDeviceInfo.eWearableSize-1]);

					for (coeffnum = 0; coeffnum < 48; coeffnum++)
					{
						sprintf(msg,"\n\n \r   a[%d]=%.18Lf",coeffnum,a[coeffnum]);
						HAL_UART_Transmit(&huart1,(uint8_t*)msg,strlen(msg),100);
						sprintf(msg,"\n\r   b[%d]=%.18Lf",coeffnum,b[coeffnum]);
						HAL_UART_Transmit(&huart1,(uint8_t*)msg,strlen(msg),100);
						sprintf(msg,"\n\r   c[%d]=%.18Lf",coeffnum,c[coeffnum]);
						HAL_UART_Transmit(&huart1,(uint8_t*)msg,strlen(msg),100);
						sprintf(msg,"\n\r   d[%d]=%.18Lf",coeffnum,d[coeffnum]);
						HAL_UART_Transmit(&huart1,(uint8_t*)msg,strlen(msg),100);
					}

					uart_transmit_str((uint8_t*)"\r\n\n   Press '0' to go back\r\n");
					bPrintDone = true;
					HAL_UART_Receive_IT(&huart1, (uint8_t *)ucRxBuffer, 1);
				}
				else
				{
					uint8_t ucUserOption = ucRxBuffer[0] - '0';

					if (0 == ucUserOption)
					{
						eConfigModeCurrentStatus = eConfigModeMainMenu;
						bPrintDone = false;
						bModeSwitch = true;
					}
					else
					{
						uart_transmit_str((uint8_t*)"\r\n\   Press '0' to go back\r\n");
						HAL_UART_Receive_IT(&huart1, (uint8_t *)ucRxBuffer, 1);
					}
				}
			break;
		}

		bUartReceived = false;
	}
}
/*-----------------------------------------------------------------------------
//Purpose   : Buzzer finished indication
//Inputs    : None
//Outputs   : None
//Return    : None
//Notes     : None
-----------------------------------------------------------------------------*/
void BuzzerPlay(int num_times)
{
    for (int i = 0; i < num_times; i++)
    {
        HAL_GPIO_WritePin(BUZZER_PIN_GPIO_Port, BUZZER_PIN_Pin, GPIO_PIN_SET);
        HAL_Delay(500);
        HAL_GPIO_WritePin(BUZZER_PIN_GPIO_Port, BUZZER_PIN_Pin, GPIO_PIN_RESET);
        HAL_Delay(500);
        HAL_GPIO_WritePin(BUZZER_PIN_GPIO_Port, BUZZER_PIN_Pin, GPIO_PIN_SET);
        HAL_Delay(500);
        HAL_GPIO_WritePin(BUZZER_PIN_GPIO_Port, BUZZER_PIN_Pin, GPIO_PIN_RESET);
        HAL_Delay(500);
    }
}

void BuzzerPlayPiezo(void)
{
    for (int i = 0; i < 1000; i++)
    {
        HAL_GPIO_WritePin(BUZZER_PIN_GPIO_Port, BUZZER_PIN_Pin, GPIO_PIN_SET);
        HAL_Delay(1);
        HAL_GPIO_WritePin(BUZZER_PIN_GPIO_Port, BUZZER_PIN_Pin, GPIO_PIN_RESET);
        HAL_Delay(1);
    }
}

/*-----------------------------------------------------------------------------
//Purpose   : Display the status
//Inputs    : None
//Outputs   : None
//Return    : None
//Notes     : None
-----------------------------------------------------------------------------*/
static void UpdateConnectionStatusOnDisplay()
{
	static _eBleConnectionStatus ePrvStatus = eBleStatusUnknown;

	if (eOpMode == eCOnfigMode)
	{
		return;
	}

	if ((eBleStatusUnknown == GetBleConnectionStatus()) ||
									(ePrvStatus == GetBleConnectionStatus()))
	{
		return;
	}

	ePrvStatus = GetBleConnectionStatus();

	switch(ePrvStatus)
	{
		case eBleStatusDisConnected:
			UpdateDisconnectedMsg();
			break;

		case eBleStatusConnected:
			UpadteConnectedStatus();
			break;

		case eBleStatusUnknown:
		default:
			break;
	}

}

/*-----------------------------------------------------------------------------
//Purpose   : To get the live reading status
//Inputs    : None
//Outputs   : None
//Return    : None
//Notes     : None
-----------------------------------------------------------------------------*/
bool GetReadingIterationStatus()
{
	bool blBretVal = false;

	if ((0 < ucReadingTrack) && (MAX_READING_ITERATION > ucReadingTrack))
	{
		blBretVal = true;
	}

	return blBretVal;
}
void GetDeviceInfo(_sDeviceInfoData* sDeviceInfoData )
{
	memcpy(sDeviceInfoData, &sDeviceInfo, sizeof(_sDeviceInfoData));
	//sDeviceInfoData = &sDeviceInfo;
}
/*-----------------------------------------------------------------------------
//Purpose   : Update connected status
//Inputs    : None
//Outputs   : None
//Return    : None
//Notes     : None
-----------------------------------------------------------------------------*/
void SetBleConnectionStatus(_eBleConnectionStatus eBleStatus)
{
	eBleCurrentStatus = eBleStatus;
}

/*-----------------------------------------------------------------------------
//Purpose   : Set the error status of the device
//Inputs    : None
//Outputs   :kklx None
//Return    : eErrorStatus - status
//Notes     : None
-----------------------------------------------------------------------------*/
static void ProcessBattery(void)
{
	static uint32_t ulTimeNext 	= 0;
	uint32_t ulBatUpdate		= 0;

	if (eReadingStatusReadingInProgrs == GetReadingStatus())
	{
		return;
	}

	if (ulTimeNext < HAL_GetTick())
	{
		ulTimeNext 	= HAL_GetTick() + BATTERY_UPDATE_PERIOD;
		UpdateBatteryVoltageOnDisplay();
	}

	if (10 > GetBatteryPercentage())
	{
		SetDaqErrorStatus(eErrorBatLOw);
	}
	else
	{
		ClearDaqErrorStatus(eErrorBatLOw);
	}
}
void conv_cmplt_tasks(void)
{

}
/* USER CODE END 4 */

void Error_Handler(void)
{
  __disable_irq();
  while (1)
  {
  }
}
